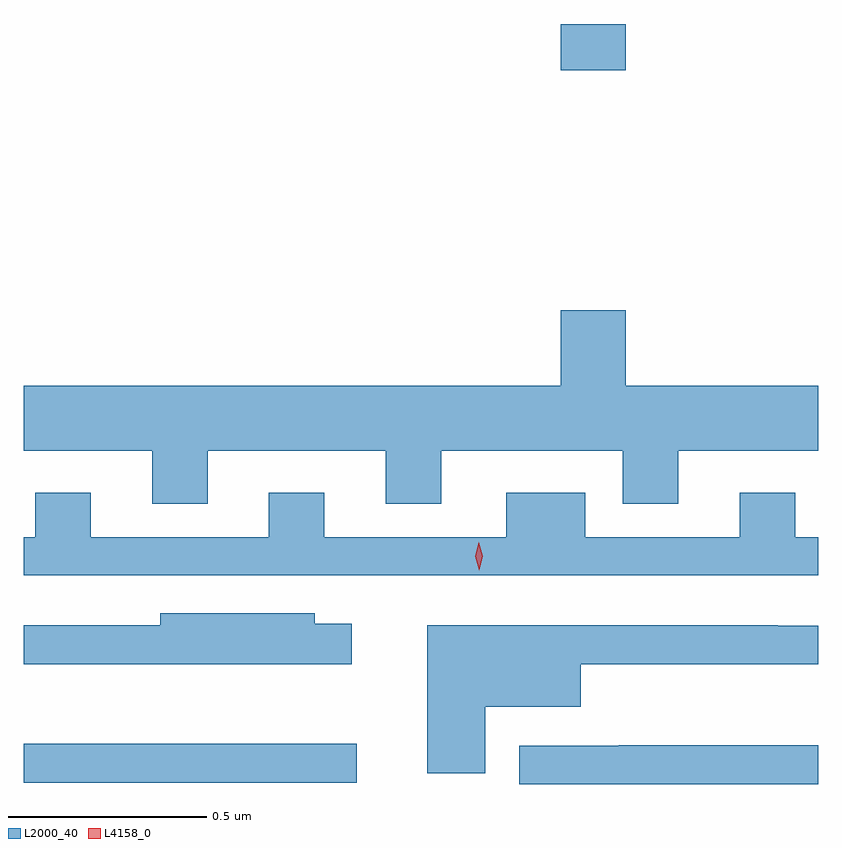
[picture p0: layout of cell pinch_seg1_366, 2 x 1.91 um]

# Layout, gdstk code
import gdstk
lib = gdstk.Library(unit=1e-6, precision=1e-09)
def R(c, l, rs):  # rectangles x0, y0, x1, y1
    for r in rs: c.add(gdstk.rectangle(r[:2], r[2:], *l))
def P(c, l, *ps):  # polygons
    for p in ps: c.add(gdstk.Polygon(p, *l))
L2000_40 = (2000, 40)
L4158_0 = (4158, 0)

pinch_seg1_366 = lib.new_cell('pinch_seg1_366')
R(pinch_seg1_366, L2000_40, [(990.828,546.9,991.666,546.998), (992.18,548.694,992.344,548.81)])
P(pinch_seg1_366, L2000_40, [(991.291,547.736),(991.739,547.736),(991.739,547.603),(991.879,547.603),(991.879,547.736),(992.336,547.736),(992.336,547.603),(992.476,547.603),(992.476,547.736),(992.828,547.736),(992.828,547.9),(992.344,547.9),(992.344,548.089),(992.18,548.089),(992.18,547.9),(990.828,547.9),(990.828,547.736),(991.151,547.736),(991.151,547.603),(991.291,547.603)],
  [(992.828,547.518),(992.77,547.518),(992.77,547.63),(992.63,547.63),(992.63,547.518),(992.242,547.518),(992.242,547.63),(992.042,547.63),(992.042,547.518),(991.585,547.518),(991.585,547.63),(991.445,547.63),(991.445,547.518),(990.997,547.518),(990.997,547.63),(990.857,547.63),(990.857,547.518),(990.828,547.518),(990.828,547.422),(992.828,547.422)],
  [(991.654,547.3),(991.56,547.3),(991.56,547.327),(991.172,547.327),(991.172,547.296),(990.828,547.296),(990.828,547.199),(991.654,547.199)],
  [(991.99,547.091),(992.23,547.091),(992.23,547.199),(992.828,547.199),(992.828,547.295),(992.726,547.295),(992.726,547.296),(992.126,547.296),(992.126,547.297),(991.844,547.297),(991.844,546.924),(991.99,546.924)],
  [(992.828,546.995),(992.326,546.995),(992.326,546.993),(992.075,546.993),(992.075,546.897),(992.828,546.897)])
P(pinch_seg1_366, L4158_0, [(991.975,547.435),(991.975,547.435),(991.964,547.47),(991.973,547.505),(991.973,547.505),(991.973,547.505),(991.984,547.47),(991.975,547.435)])

lib.write_gds('pinch_seg1_366.gds')
